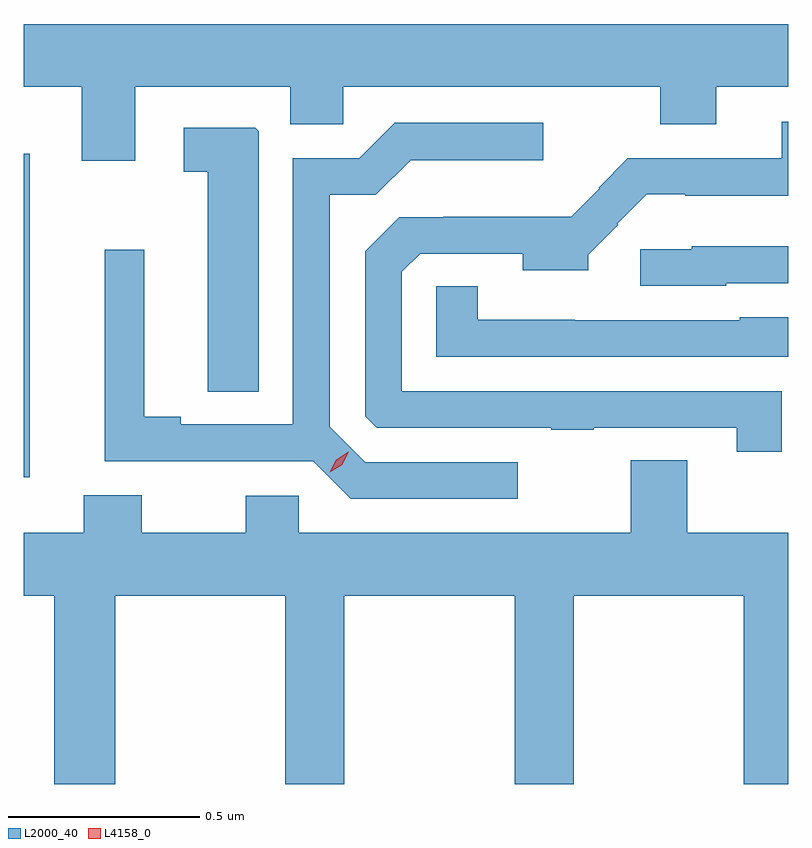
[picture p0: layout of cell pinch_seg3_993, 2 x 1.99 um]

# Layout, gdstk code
import gdstk
lib = gdstk.Library(unit=1e-6, precision=1e-09)
def R(c, l, rs):  # rectangles x0, y0, x1, y1
    for r in rs: c.add(gdstk.rectangle(r[:2], r[2:], *l))
def P(c, l, *ps):  # polygons
    for p in ps: c.add(gdstk.Polygon(p, *l))
L2000_40 = (2000, 40)
L4158_0 = (4158, 0)

pinch_seg3_993 = lib.new_cell('pinch_seg3_993')
R(pinch_seg3_993, L2000_40, [(481.855,719.874,481.87,720.721)])
P(pinch_seg3_993, L2000_40, [(482.146,720.896),(482.552,720.896),(482.552,720.798),(482.691,720.798),(482.691,720.896),(483.52,720.896),(483.52,720.797),(483.667,720.797),(483.667,720.896),(483.855,720.896),(483.855,721.06),(481.855,721.06),(481.855,720.896),(482.006,720.896),(482.006,720.702),(482.146,720.702)],
  [(483.839,720.099),(482.844,720.099),(482.844,720.411),(482.892,720.459),(483.161,720.459),(483.161,720.416),(483.332,720.416),(483.332,720.456),(483.411,720.534),(483.408,720.537),(483.485,720.614),(483.586,720.614),(483.586,720.611),(483.855,720.611),(483.855,720.804),(483.839,720.804),(483.839,720.708),(483.435,720.708),(483.359,720.631),(483.361,720.629),(483.287,720.556),(482.953,720.556),(482.953,720.554),(482.837,720.554),(482.748,720.465),(482.748,720.033),(482.778,720.003),(483.235,720.003),(483.235,719.998),(483.347,719.998),(483.347,720.003),(483.721,720.003),(483.721,719.94),(483.839,719.94)],
  [(483.148,719.913),(482.748,719.913),(482.655,720.006),(482.655,720.613),(482.776,720.613),(482.867,720.704),(483.214,720.704),(483.214,720.801),(482.826,720.801),(482.733,720.708),(482.559,720.708),(482.559,720.012),(482.266,720.012),(482.266,720.032),(482.17,720.032),(482.17,720.469),(482.066,720.469),(482.066,719.916),(482.612,719.916),(482.711,719.817),(483.148,719.817)],
  [(482.47,720.779),(482.46,720.789),(482.274,720.789),(482.274,720.673),(482.336,720.673),(482.336,720.097),(482.47,720.097)],
  [(483.693,720.381),(483.855,720.381),(483.855,720.478),(483.603,720.478),(483.603,720.471),(483.468,720.471),(483.468,720.375),(483.693,720.375)],
  [(483.855,720.292),(483.729,720.292),(483.729,720.285),(483.297,720.285),(483.297,720.286),(483.043,720.286),(483.043,720.374),(482.934,720.374),(482.934,720.189),(483.855,720.189)],
  [(482.094,719.564),(482.539,719.564),(482.539,719.071),(482.694,719.071),(482.694,719.564),(483.139,719.564),(483.139,719.071),(483.294,719.071),(483.294,719.564),(483.739,719.564),(483.739,719.071),(483.855,719.071),(483.855,719.728),(483.591,719.728),(483.591,719.918),(483.443,719.918),(483.443,719.728),(482.574,719.728),(482.574,719.826),(482.435,719.826),(482.435,719.728),(482.164,719.728),(482.164,719.827),(482.012,719.827),(482.012,719.728),(481.855,719.728),(481.855,719.564),(481.934,719.564),(481.934,719.071),(482.094,719.071)])
P(pinch_seg3_993, L4158_0, [(482.656,719.887),(482.656,719.887),(482.673,719.92),(482.704,719.94),(482.705,719.94),(482.705,719.94),(482.688,719.907),(482.656,719.887)])

lib.write_gds('pinch_seg3_993.gds')
